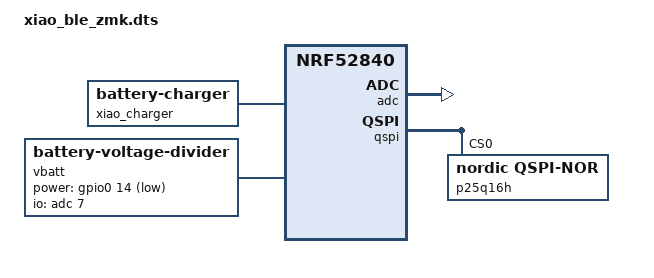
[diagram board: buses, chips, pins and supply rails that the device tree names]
/*
 * Copyright (c) 2021 The ZMK Contributors
 *
 * SPDX-License-Identifier: MIT
 */

#include <../boards/seeed/xiao_ble/xiao_ble.dts>
#include <common/nordic/nrf52840_uf2_boot_mode.dtsi>

/* Add an sd_partition label for compatibility with the nosd snippet */
sd_partition: &reserved_partition_0 { };

/ {
    chosen {
        zmk,battery = &vbatt;
        zmk,battery-charger = &xiao_charger;
    };

    /* BQ25101: charges at 50 mA unless P0.13 is driven low (100 mA), which ZMK
     * does not do. A keyboard adds its battery's
     * charge-full-design-microamp-hours to get a charging estimate
     * (CONFIG_ZMK_BATTERY_HOLD_ON_EXTERNAL_POWER).
     *
     * No status-gpios: on a XIAO nRF52840 Sense, P0.17 (CHG) read "not charging"
     * with GPIO_ACTIVE_LOW | GPIO_PULL_UP while the cell charged from 4029 to
     * 4213 mV on USB, so it cannot tell charging from full.
     */
    xiao_charger: xiao_charger {
        compatible = "zmk,battery-charger";
        charge-current-microamp = <50000>;
    };

    vbatt: vbatt {
        compatible = "zmk,battery-voltage-divider";
        io-channels = <&adc 7>;
        power-gpios = <&gpio0 14 (GPIO_OPEN_DRAIN | GPIO_ACTIVE_LOW)>;
        output-ohms = <510000>;
        full-ohms = <(1000000 + 510000)>;
    };
};

&xiao_serial { status = "disabled"; };

&adc {
    status = "okay";
};

&qspi {
    status = "okay";
    pinctrl-0 = <&qspi_default>;
    pinctrl-1 = <&qspi_sleep>;
    pinctrl-names = "default", "sleep";
    p25q16h: p25q16h@0 {
        compatible = "nordic,qspi-nor";
        reg = <0>;
        sck-frequency = <104000000>;
        quad-enable-requirements = "S2B1v1";
        jedec-id = [85 60 15];
        sfdp-bfp = [
            e5 20 f1 ff  ff ff ff 00  44 eb 08 6b  08 3b 80 bb
            ee ff ff ff  ff ff 00 ff  ff ff 00 ff  0c 20 0f 52
            10 d8 08 81
        ];
        size = <16777216>;
        has-dpd;
        t-enter-dpd = <3000>;
        t-exit-dpd = <8000>;
    };
};
